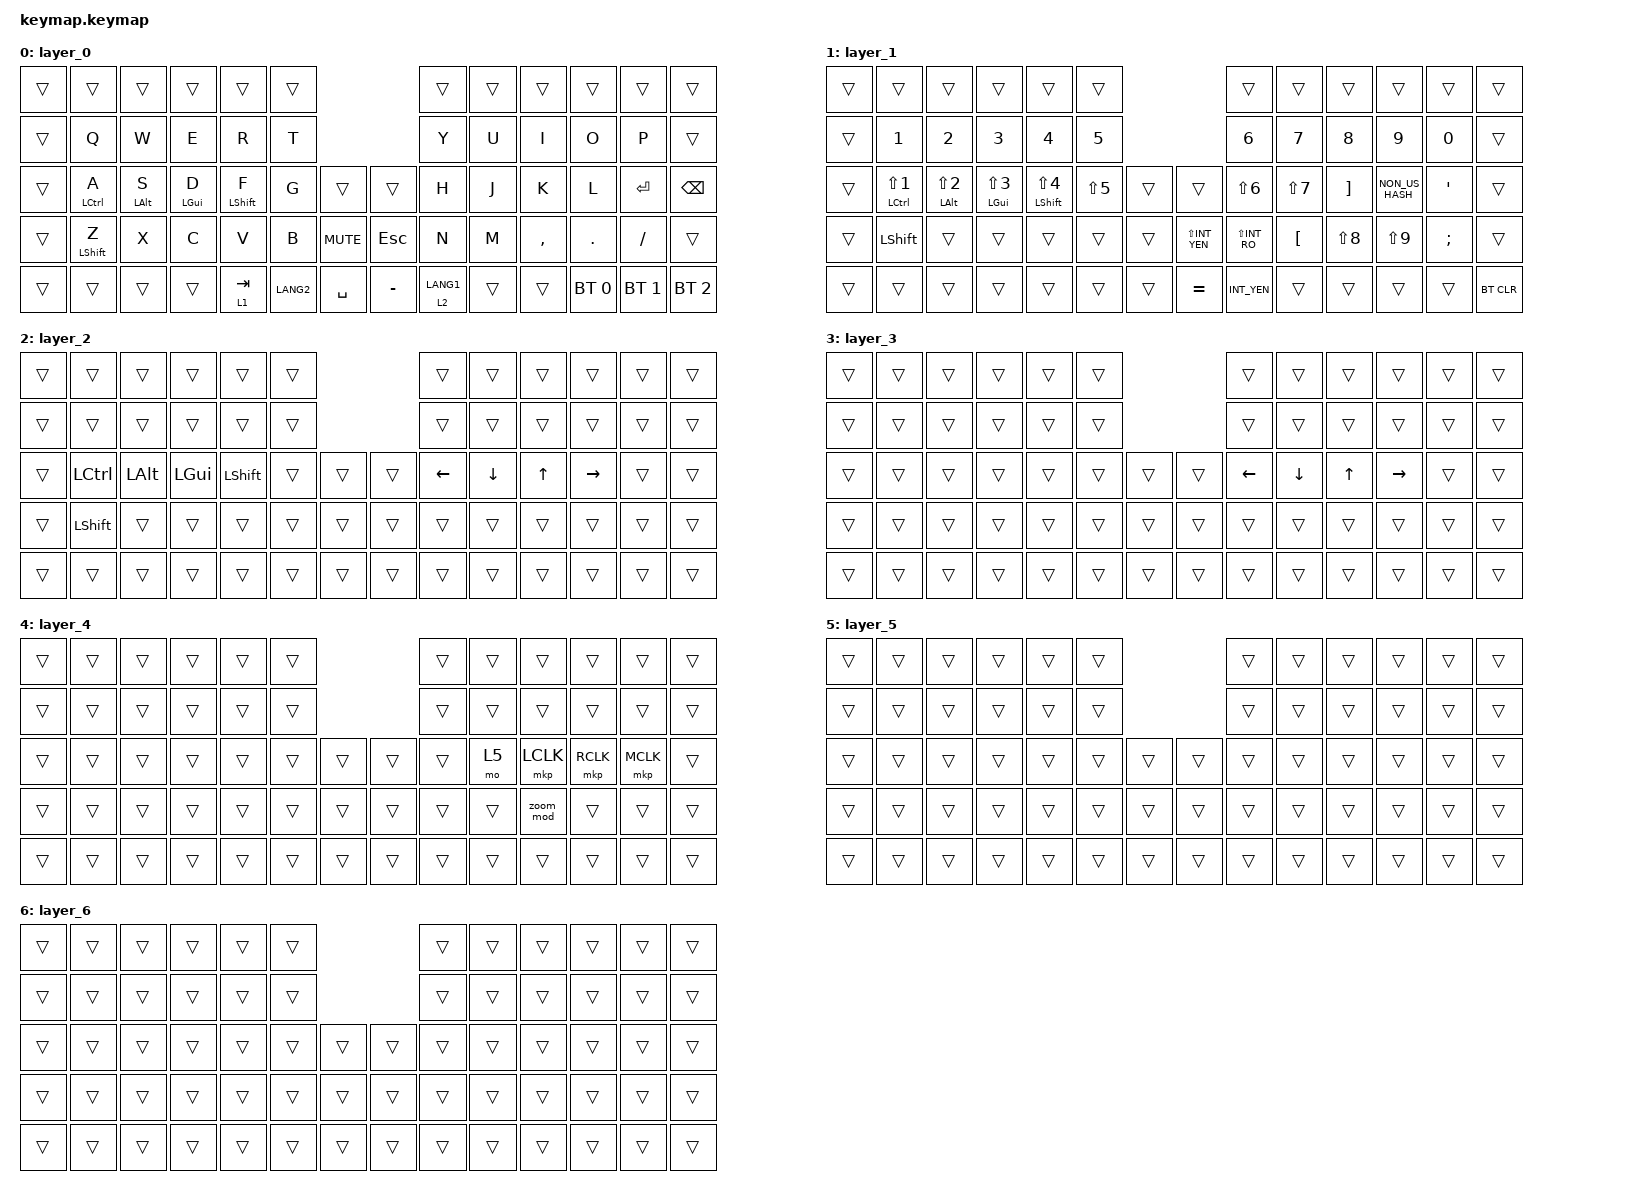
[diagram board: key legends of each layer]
#include <input/processors.dtsi>
#include <dt-bindings/zmk/input_transform.h>
#include <behaviors.dtsi>
#include <dt-bindings/zmk/bt.h>
#include <dt-bindings/zmk/keys.h>
#include <dt-bindings/zmk/pointing.h>

&mt {
    flavor = "balanced";
    tapping-term-ms = <220>;
    quick-tap-ms = <175>;
    require-prior-idle-ms = <100>;
};

&pointing_listener {
    input-processors =
        <&zip_xy_transform (INPUT_TRANSFORM_X_INVERT | INPUT_TRANSFORM_Y_INVERT)>,
        <&zip_xy_scaler 2 3>,
        <&zip_temp_layer 4 600>;

    scroller {
        layers = <5>;
        input-processors =
            <&zip_xy_transform INPUT_TRANSFORM_Y_INVERT>,
            <&zip_xy_to_scroll_mapper>,
            <&zip_scroll_scaler 1 40>,
            <&zip_temp_layer 4 600>;
    };

    zoomer {
        layers = <6>;
        input-processors =
            <&zip_xy_transform INPUT_TRANSFORM_Y_INVERT>,
            <&zip_x_scaler 0 1>,
            <&zip_xy_to_scroll_mapper>,
            <&zip_scroll_scaler 1 40>,
            <&zip_temp_layer 4 600>;
    };
};

&zip_temp_layer {
    require-prior-idle-ms = <200>;
    excluded-positions = <25 26 27 28 33 34 35 48>;
};

/ {
    macros {
        zoom_mod: zoom_mod {
            compatible = "zmk,behavior-macro";
            #binding-cells = <0>;
            wait-ms = <0>;
            tap-ms = <0>;
            bindings =
                <&macro_press &mo 6 &kp LGUI>,
                <&macro_pause_for_release>,
                <&macro_release &mo 6 &kp LGUI>;
        };
    };

    combos {
        compatible = "zmk,combos";

        tab {
            bindings = <&kp TAB>;
            key-positions = <33 34>;
            layers = <2>;
        };

        esc {
            bindings = <&kp ESC>;
            key-positions = <34 35>;
        };
    };

    keymap {
        compatible = "zmk,keymap";

        layer_0 {
            bindings = <
&trans  &trans            &trans          &trans          &trans            &trans                            &trans       &trans  &trans     &trans        &trans        &trans
&trans  &kp Q             &kp W           &kp E           &kp R             &kp T                             &kp Y        &kp U   &kp I      &kp O         &kp P         &trans
&trans  &mt LCTRL A       &mt LEFT_ALT S  &mt LEFT_GUI D  &mt LEFT_SHIFT F  &kp G      &trans     &trans      &kp H        &kp J   &kp K      &kp L         &kp ENTER     &kp BACKSPACE
&trans  &mt LEFT_SHIFT Z  &kp X           &kp C           &kp V             &kp B      &kp C_MUTE &kp ESCAPE  &kp N        &kp M   &kp COMMA  &kp DOT       &kp SLASH     &trans
&trans  &trans            &trans          &trans          &lt 1 TAB         &kp LANG2  &kp SPACE  &kp MINUS   &lt 2 LANG1  &trans  &trans     &bt BT_SEL 0  &bt BT_SEL 1  &bt BT_SEL 2
            >;
        };

        layer_1 {
            bindings = <
&trans  &trans                         &trans                     &trans                 &trans                       &trans                                 &trans            &trans            &trans             &trans           &trans         &trans
&trans  &kp NUMBER_1                   &kp NUMBER_2               &kp NUMBER_3           &kp NUMBER_4                 &kp NUMBER_5                           &kp NUMBER_6      &kp NUMBER_7      &kp NUMBER_8       &kp NUMBER_9     &kp NUMBER_0   &trans
&trans  &mt LEFT_CONTROL LS(NUMBER_1)  &mt LEFT_ALT LS(NUMBER_2)  &mt LGUI LS(NUMBER_3)  &mt LEFT_SHIFT LS(NUMBER_4)  &kp LS(N5)    &trans  &trans           &kp LS(NUMBER_6)  &kp LS(N7)        &kp RIGHT_BRACKET  &kp NON_US_HASH  &kp SQT        &trans
&trans  &kp LEFT_SHIFT                 &trans                     &trans                 &trans                       &trans        &trans  &kp LS(INT_YEN)  &kp LS(INT_RO)    &kp LEFT_BRACKET  &kp LS(N8)         &kp LS(N9)       &kp SEMICOLON  &trans
&trans  &trans                         &trans                     &trans                 &trans                       &trans        &trans  &kp EQUAL        &kp INT_YEN       &trans            &trans             &trans           &trans         &bt BT_CLR
            >;
        };

        layer_2 {
            bindings = <
&trans  &trans          &trans        &trans        &trans          &trans                  &trans          &trans          &trans        &trans           &trans  &trans
&trans  &trans          &trans        &trans        &trans          &trans                  &trans          &trans          &trans        &trans           &trans  &trans
&trans  &kp LCTRL       &kp LEFT_ALT  &kp LEFT_GUI  &kp LEFT_SHIFT  &trans  &trans  &trans  &kp LEFT_ARROW  &kp DOWN_ARROW  &kp UP_ARROW  &kp RIGHT_ARROW  &trans  &trans
&trans  &kp LEFT_SHIFT  &trans        &trans        &trans          &trans  &trans  &trans  &trans          &trans          &trans        &trans           &trans  &trans
&trans  &trans          &trans        &trans        &trans          &trans  &trans  &trans  &trans          &trans          &trans        &trans           &trans  &trans
            >;
        };

        layer_3 {
            bindings = <
&trans  &trans  &trans  &trans  &trans  &trans                  &trans    &trans    &trans        &trans     &trans  &trans
&trans  &trans  &trans  &trans  &trans  &trans                  &trans    &trans    &trans        &trans     &trans  &trans
&trans  &trans  &trans  &trans  &trans  &trans  &trans  &trans  &kp LEFT  &kp DOWN  &kp UP_ARROW  &kp RIGHT  &trans  &trans
&trans  &trans  &trans  &trans  &trans  &trans  &trans  &trans  &trans    &trans    &trans        &trans     &trans  &trans
&trans  &trans  &trans  &trans  &trans  &trans  &trans  &trans  &trans    &trans    &trans        &trans     &trans  &trans
            >;
        };

        layer_4 {
            bindings = <
&trans  &trans  &trans  &trans  &trans  &trans                  &trans  &trans  &trans     &trans     &trans     &trans
&trans  &trans  &trans  &trans  &trans  &trans                  &trans  &trans  &trans     &trans     &trans     &trans
&trans  &trans  &trans  &trans  &trans  &trans  &trans  &trans  &trans  &mo 5   &mkp LCLK  &mkp RCLK  &mkp MCLK  &trans
&trans  &trans  &trans  &trans  &trans  &trans  &trans  &trans  &trans  &trans  &zoom_mod  &trans     &trans     &trans
&trans  &trans  &trans  &trans  &trans  &trans  &trans  &trans  &trans  &trans  &trans     &trans     &trans     &trans
            >;
        };

        layer_5 {
            bindings = <
&trans  &trans  &trans  &trans  &trans  &trans                  &trans  &trans  &trans  &trans  &trans  &trans
&trans  &trans  &trans  &trans  &trans  &trans                  &trans  &trans  &trans  &trans  &trans  &trans
&trans  &trans  &trans  &trans  &trans  &trans  &trans  &trans  &trans  &trans  &trans  &trans  &trans  &trans
&trans  &trans  &trans  &trans  &trans  &trans  &trans  &trans  &trans  &trans  &trans  &trans  &trans  &trans
&trans  &trans  &trans  &trans  &trans  &trans  &trans  &trans  &trans  &trans  &trans  &trans  &trans  &trans
            >;
        };

        layer_6 {
            bindings = <
&trans  &trans  &trans  &trans  &trans  &trans                  &trans  &trans  &trans  &trans  &trans  &trans
&trans  &trans  &trans  &trans  &trans  &trans                  &trans  &trans  &trans  &trans  &trans  &trans
&trans  &trans  &trans  &trans  &trans  &trans  &trans  &trans  &trans  &trans  &trans  &trans  &trans  &trans
&trans  &trans  &trans  &trans  &trans  &trans  &trans  &trans  &trans  &trans  &trans  &trans  &trans  &trans
&trans  &trans  &trans  &trans  &trans  &trans  &trans  &trans  &trans  &trans  &trans  &trans  &trans  &trans
            >;
        };
    };
};
